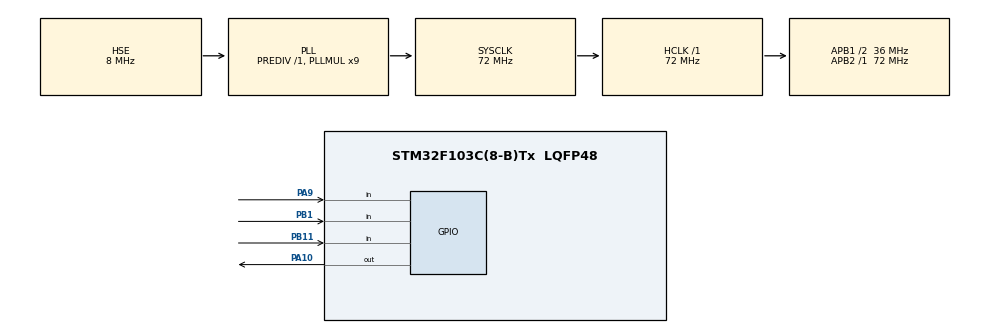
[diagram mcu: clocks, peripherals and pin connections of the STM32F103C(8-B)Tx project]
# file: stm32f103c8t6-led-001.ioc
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Mcu.Family=STM32F1
Mcu.Name=STM32F103C(8-B)Tx
Mcu.Package=LQFP48
NVIC.PriorityGroup=NVIC_PRIORITYGROUP_4
NVIC.RCC_IRQn=true\:0\:0\:false\:false\:true\:true\:false\:true
PA10.GPIO_ModeDefaultOutputPP=GPIO_MODE_OUTPUT_PP
PA10.GPIO_PuPd=GPIO_PULLDOWN
PA10.GPIO_Speed=GPIO_SPEED_FREQ_MEDIUM
PA10.PinState=GPIO_PIN_SET
PA10.Signal=GPIO_Output
PA13.Mode=Serial_Wire
PA13.Signal=SYS_JTMS-SWDIO
PA14.Mode=Serial_Wire
PA14.Signal=SYS_JTCK-SWCLK
PA9.GPIO_Mode=GPIO_MODE_INPUT
PA9.GPIO_PuPd=GPIO_PULLUP
PA9.Signal=GPIO_Input
PB1.GPIO_PuPd=GPIO_PULLUP
PB1.Signal=GPIO_Input
PB11.GPIO_PuPd=GPIO_PULLUP
PB11.Signal=GPIO_Input
PD0-OSC_IN.Mode=HSE-External-Oscillator
PD0-OSC_IN.Signal=RCC_OSC_IN
PD1-OSC_OUT.Mode=HSE-External-Oscillator
PD1-OSC_OUT.Signal=RCC_OSC_OUT
ProjectManager.HeapSize=0x200
ProjectManager.StackSize=0x400
ProjectManager.TargetToolchain=MDK-ARM V5.32
RCC.AHBFreq_Value=72000000
RCC.APB1CLKDivider=RCC_HCLK_DIV2
RCC.APB1Freq_Value=36000000
RCC.APB1TimFreq_Value=72000000
RCC.APB2Freq_Value=72000000
RCC.APB2TimFreq_Value=72000000
RCC.HCLKFreq_Value=72000000
RCC.PLLMUL=RCC_PLL_MUL9
RCC.PLLSourceVirtual=RCC_PLLSOURCE_HSE
RCC.SYSCLKFreq_VALUE=72000000
RCC.SYSCLKSource=RCC_SYSCLKSOURCE_PLLCLK
RCC.USBFreq_Value=72000000
board=custom

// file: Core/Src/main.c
/* USER CODE BEGIN Header */
/**
  ******************************************************************************
  * @file           : main.c
  * @brief          : Main program body
  ******************************************************************************
  * @attention
  *
  * Copyright (c) 2026 STMicroelectronics.
  * All rights reserved.
  *
  * This software is licensed under terms that can be found in the LICENSE file
  * in the root directory of this software component.
  * If no LICENSE file comes with this software, it is provided AS-IS.
  *
  ******************************************************************************
  */

/* USER CODE END Header */
#include "main.h"
#include "gpio.h"

/* USER CODE BEGIN Includes */
#include "led.h"
/* USER CODE END Includes */

void SystemClock_Config(void);
/* USER CODE BEGIN PFP */
uint8_t KeyNum = 0;

uint8_t Key_GetNum(void)
{
	uint8_t KeyNum = 0;
	if (HAL_GPIO_ReadPin(GPIOB,GPIO_PIN_1) == 0)
	{
		HAL_Delay (20);
		while(HAL_GPIO_ReadPin(GPIOB, GPIO_PIN_1) == 0);
		HAL_Delay (20);
		KeyNum = 1;
	}
	if (HAL_GPIO_ReadPin(GPIOB, GPIO_PIN_11) == 0)
	{
		HAL_Delay (20);
		while(HAL_GPIO_ReadPin(GPIOB, GPIO_PIN_11) == 0);
		HAL_Delay (20);
		KeyNum = 2;
	}

	return KeyNum;
}

/* USER CODE END PFP */

int main(void)
{

  /* MCU Configuration--------------------------------------------------------*/

  /* Reset of all peripherals, Initializes the Flash interface and the Systick. */
  HAL_Init();

  /* Configure the system clock */
  SystemClock_Config();

  /* Initialize all configured peripherals */
  MX_GPIO_Init();
  /* USER CODE BEGIN 2 */
	LED_Init();

  /* USER CODE END 2 */

  /* Infinite loop */
  while (1)
  {

    /* USER CODE BEGIN 3 */
	 KeyNum = Key_GetNum();
		if (KeyNum == 1)
		{
			LED_ON();
		}
		if (KeyNum == 2)
		{
			LED_OFF();
		}

  }

  /* USER CODE END 3 */
}

void SystemClock_Config(void)
{
  RCC_OscInitTypeDef RCC_OscInitStruct = {0};
  RCC_ClkInitTypeDef RCC_ClkInitStruct = {0};

  /** Initializes the RCC Oscillators according to the specified parameters
  * in the RCC_OscInitTypeDef structure.
  */
  RCC_OscInitStruct.OscillatorType = RCC_OSCILLATORTYPE_HSE;
  RCC_OscInitStruct.HSEState = RCC_HSE_ON;
  RCC_OscInitStruct.HSEPredivValue = RCC_HSE_PREDIV_DIV1;
  RCC_OscInitStruct.HSIState = RCC_HSI_ON;
  RCC_OscInitStruct.PLL.PLLState = RCC_PLL_ON;
  RCC_OscInitStruct.PLL.PLLSource = RCC_PLLSOURCE_HSE;
  RCC_OscInitStruct.PLL.PLLMUL = RCC_PLL_MUL9;
  if (HAL_RCC_OscConfig(&RCC_OscInitStruct) != HAL_OK)
  {
    Error_Handler();
  }

  /** Initializes the CPU, AHB and APB buses clocks
  */
  RCC_ClkInitStruct.ClockType = RCC_CLOCKTYPE_HCLK|RCC_CLOCKTYPE_SYSCLK
                              |RCC_CLOCKTYPE_PCLK1|RCC_CLOCKTYPE_PCLK2;
  RCC_ClkInitStruct.SYSCLKSource = RCC_SYSCLKSOURCE_PLLCLK;
  RCC_ClkInitStruct.AHBCLKDivider = RCC_SYSCLK_DIV1;
  RCC_ClkInitStruct.APB1CLKDivider = RCC_HCLK_DIV2;
  RCC_ClkInitStruct.APB2CLKDivider = RCC_HCLK_DIV1;

  if (HAL_RCC_ClockConfig(&RCC_ClkInitStruct, FLASH_LATENCY_2) != HAL_OK)
  {
    Error_Handler();
  }
}

void Error_Handler(void)
{
  __disable_irq();
  while (1)
  {
  }
}
